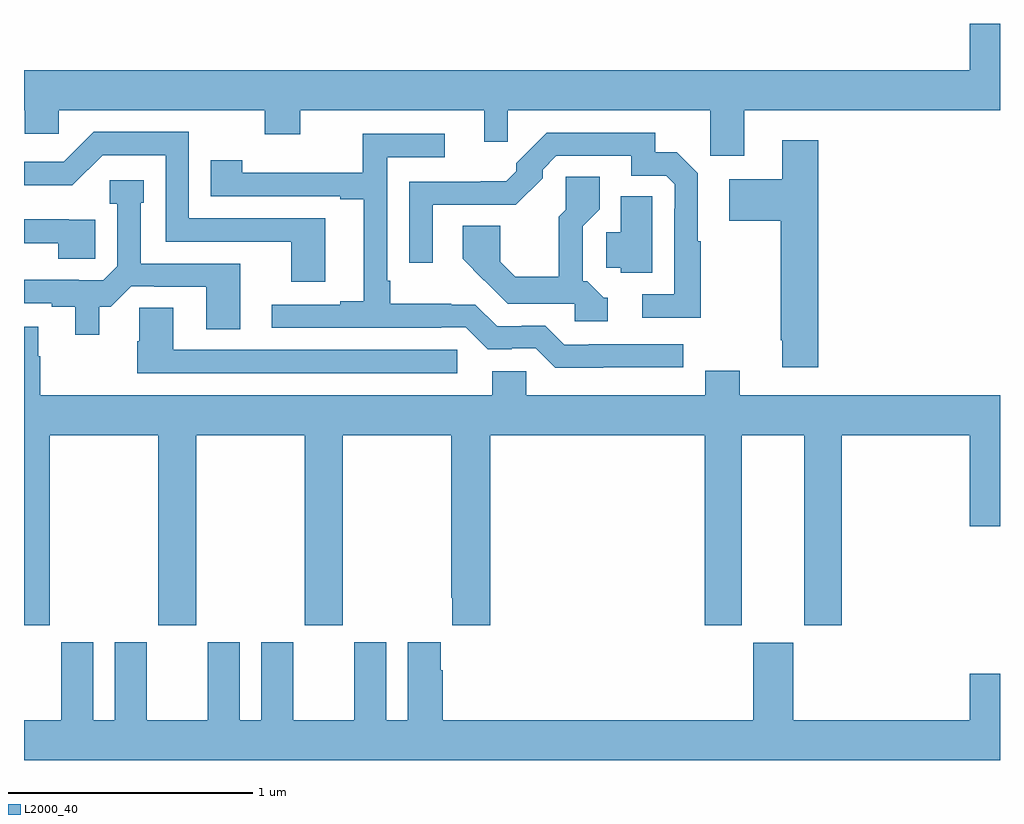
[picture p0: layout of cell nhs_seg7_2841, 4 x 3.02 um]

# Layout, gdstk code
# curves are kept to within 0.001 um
import gdstk
lib = gdstk.Library(unit=1e-6, precision=1e-09)
def P(c, l, *ps):  # polygons
    for p in ps: c.add(gdstk.Polygon(p, *l))
L2000_40 = (2000, 40)

nhs_seg7_2841 = lib.new_cell('nhs_seg7_2841')
P(nhs_seg7_2841, L2000_40, [(293,1067.216),(293.004,1067.216),(293.004,1067.118),(293.142,1067.118),(293.142,1067.216),(293.986,1067.216),(293.986,1067.117),(294.133,1067.117),(294.133,1067.216),(294.887,1067.216),(294.887,1067.087),(294.983,1067.087),(294.983,1067.216),(295.813,1067.216),(295.813,1067.028),(295.951,1067.028),(295.951,1067.216),(297,1067.216),(297,1067.569),(296.876,1067.569),(296.876,1067.38),(293,1067.38)],
  [(294.235,1066.773),(293.676,1066.773),(293.676,1067.127),(293.286,1067.127),(293.163,1067.004),(293,1067.004),(293,1066.907),(293.198,1066.907),(293.322,1067.031),(293.58,1067.031),(293.58,1066.677),(294.095,1066.677),(294.095,1066.512),(294.235,1066.512)],
  [(295.774,1066.679),(295.762,1066.679),(295.762,1066.958),(295.676,1067.044),(295.587,1067.044),(295.587,1067.124),(295.142,1067.124),(295.017,1066.999),(295.017,1066.965),(294.976,1066.924),(294.579,1066.923),(294.579,1066.59),(294.675,1066.59),(294.675,1066.827),(295.015,1066.827),(295.125,1066.937),(295.125,1066.971),(295.182,1067.028),(295.488,1067.028),(295.488,1066.947),(295.632,1066.947),(295.668,1066.911),(295.668,1066.811),(295.665,1066.811),(295.665,1066.461),(295.533,1066.461),(295.533,1066.365),(295.774,1066.365)],
  [(295.373,1066.161),(295.702,1066.161),(295.702,1066.257),(295.315,1066.257),(295.315,1066.254),(295.215,1066.254),(295.137,1066.332),(295.04,1066.332),(295.04,1066.329),(294.939,1066.329),(294.849,1066.419),(294.752,1066.419),(294.752,1066.423),(294.502,1066.423),(294.502,1066.516),(294.489,1066.516),(294.489,1067.022),(294.724,1067.022),(294.724,1067.118),(294.388,1067.118),(294.388,1066.96),(293.894,1066.96),(293.894,1067.011),(293.766,1067.011),(293.766,1066.863),(294.296,1066.863),(294.296,1066.851),(294.392,1066.851),(294.392,1066.432),(294.296,1066.432),(294.296,1066.419),(294.015,1066.419),(294.015,1066.323),(294.71,1066.323),(294.71,1066.326),(294.81,1066.326),(294.9,1066.236),(294.998,1066.236),(294.998,1066.239),(295.098,1066.239),(295.177,1066.16)],
  [(296.255,1067.092),(296.108,1067.092),(296.108,1066.933),(295.89,1066.933),(295.89,1066.763),(296.101,1066.763),(296.101,1066.273),(296.108,1066.273),(296.108,1066.161),(296.255,1066.161)],
  [(295.393,1066.446),(295.377,1066.446),(295.308,1066.515),(295.29,1066.515),(295.29,1066.74),(295.36,1066.81),(295.36,1066.942),(295.221,1066.942),(295.221,1066.807),(295.192,1066.778),(295.192,1066.533),(295.013,1066.533),(294.952,1066.594),(294.952,1066.742),(294.798,1066.742),(294.798,1066.606),(294.983,1066.422),(295.257,1066.422),(295.257,1066.35),(295.393,1066.35)],
  [(293.308,1066.41),(293.355,1066.41),(293.439,1066.494),(293.533,1066.494),(293.533,1066.491),(293.747,1066.491),(293.747,1066.318),(293.887,1066.318),(293.887,1066.587),(293.478,1066.587),(293.478,1066.836),(293.491,1066.836),(293.491,1066.929),(293.352,1066.929),(293.352,1066.831),(293.382,1066.831),(293.382,1066.575),(293.325,1066.518),(293.225,1066.518),(293.225,1066.521),(293,1066.521),(293,1066.425),(293.114,1066.425),(293.114,1066.41),(293.21,1066.41),(293.21,1066.296),(293.308,1066.296)],
  [(295.575,1066.862),(295.445,1066.862),(295.445,1066.715),(295.386,1066.715),(295.386,1066.569),(295.446,1066.569),(295.446,1066.55),(295.575,1066.55)],
  [(293.293,1066.767),(293.183,1066.767),(293.183,1066.768),(293,1066.768),(293,1066.671),(293.14,1066.671),(293.14,1066.606),(293.293,1066.606)],
  [(294.775,1066.233),(293.611,1066.233),(293.611,1066.406),(293.473,1066.406),(293.473,1066.269),(293.464,1066.269),(293.464,1066.137),(294.775,1066.137)],
  [(295.059,1066.146),(294.92,1066.146),(294.92,1066.048),(293.067,1066.048),(293.067,1066.208),(293.059,1066.208),(293.059,1066.327),(293,1066.327),(293,1065.105),(293.106,1065.105),(293.106,1065.884),(293.551,1065.884),(293.551,1065.105),(293.706,1065.105),(293.706,1065.884),(294.151,1065.884),(294.151,1065.105),(294.306,1065.105),(294.306,1065.884),(294.751,1065.884),(294.751,1065.217),(294.755,1065.217),(294.755,1065.105),(294.911,1065.105),(294.911,1065.884),(295.79,1065.884),(295.79,1065.105),(295.942,1065.105),(295.942,1065.884),(296.198,1065.884),(296.198,1065.105),(296.351,1065.105),(296.351,1065.884),(296.876,1065.884),(296.876,1065.51),(297,1065.51),(297,1066.048),(295.933,1066.048),(295.933,1066.147),(295.793,1066.147),(295.793,1066.048),(295.059,1066.048)],
  [(297,1064.905),(296.876,1064.905),(296.876,1064.716),(296.152,1064.716),(296.152,1065.033),(295.988,1065.033),(295.988,1064.716),(294.716,1064.716),(294.716,1064.921),(294.709,1064.921),(294.709,1065.034),(294.572,1065.034),(294.572,1064.716),(294.484,1064.716),(294.484,1065.034),(294.353,1065.034),(294.353,1064.716),(294.103,1064.716),(294.103,1065.034),(293.972,1065.034),(293.972,1064.716),(293.884,1064.716),(293.884,1065.034),(293.753,1065.034),(293.753,1064.716),(293.503,1064.716),(293.503,1065.034),(293.372,1065.034),(293.372,1064.716),(293.284,1064.716),(293.284,1065.034),(293.153,1065.034),(293.153,1064.716),(293,1064.716),(293,1064.552),(297,1064.552)])

lib.write_gds('nhs_seg7_2841.gds')
